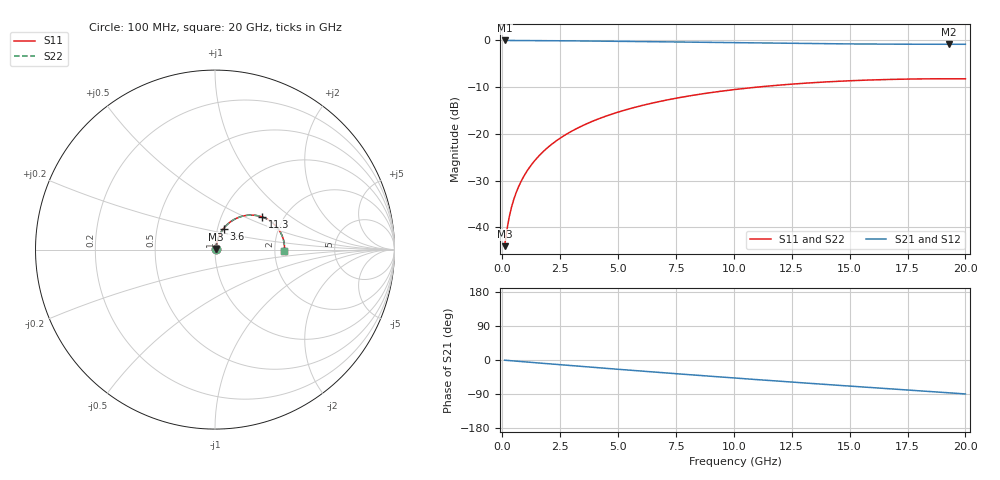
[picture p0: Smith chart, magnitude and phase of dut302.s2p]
! Touchstone file exported from HFSS 2026.1.0
!  File:  C:/ffzhzh/LocalFiles/Ansys_Project_Files/temp_train_TSV_RDL_302_1783027936_46388.aedt
!  Generated:  05:43:59 AM Jul  3, 2026
!  Design:  TSV_RDL
!  Project:  temp_train_TSV_RDL_302_1783027936_46388
! Variables:
!  h_bsmrdl = 3.55um
!  h_ox = 20um
!  h_rdl = 5um
!  h_sub = 70.57um
!  h_tmrdl = 5.57um
!  h_tsv = 70.57um
!  h_via = 3um
!  l_bsmrdl = 166.67um
!  l_sub = 1458.21um
!  l_tmrdl = 106.58um
!  m_sub = 200um
!  pitch = 51.08um
!  r_tsv = 12.29um
!  s_tmrdl = 10um
!  w_bsmrdl = 19.56um
!  w_sub = 500um
!  w_tmrdl = 24.4um
!  x_tsv_center1 = 118.78um
!  x_tsv_center2 = 305.01um
!  x_tsv_center3 = 435.99um
!  x_tsv_center4 = 622.22um
!  x_tsv_center5 = 753.2um
!  x_tsv_center6 = 939.43um
# GHz S MA R 50.000000
! Terminal data exported
! Port[1] = TM_RDL1_1_T1
! Port[2] = TM_RDL5_1_T1
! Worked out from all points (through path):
!   200 points, 100 MHz to 20 GHz, reference 50 ohm
!   highest |S21| = -0.04 dB at 100 MHz (marker M1); lowest = -0.9 dB at 19.3 GHz (marker M2)
!   group delay of S21, straight-line fit = 12.4 ps
!   lowest |S11| = -44.0 dB at 100 MHz (marker M3), VSWR 1.01, Z = 50.5 + j0.402 ohm
!   |S11| at or under -10 dB: start of sweep to 11.05 GHz
!   |S22| runs from -44.0 to -8.2 dB; largest |S21 - S12| = 3.5e-15
!   S11 on the Smith chart (normalised r, x): 100 MHz: 1.01, +0.01; 3.6 GHz: 1.07, +0.25; 11.3 GHz: 1.56, +0.63; 20 GHz: 2.26, -0.04
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0.1  0.006279 39.4  0.9952 -0.5  0.9952 -0.5  0.006279 39.4
! Gamma 0 0 0 0
! Port Impedance 50 0 50 0
0.2  0.009422 56.7  0.9949 -1.0  0.9949 -1.0  0.009422 56.7
0.3  0.01292 64.2  0.9946 -1.5  0.9946 -1.5  0.01292 64.2
0.4  0.01646 68.2  0.9943 -2.1  0.9943 -2.1  0.01646 68.2
0.5  0.01999 70.5  0.994 -2.6  0.994 -2.6  0.01999 70.5
0.6  0.02351 72.1  0.9937 -3.1  0.9937 -3.1  0.02351 72.1
0.8  0.03052 74.0  0.9932 -4.0  0.9932 -4.0  0.03052 74.0
1.1  0.04106 75.1  0.9925 -5.5  0.9925 -5.5  0.04106 75.1
1.6  0.05861 74.9  0.9911 -8.0  0.9911 -8.0  0.05861 74.9
2.1  0.07602 73.7  0.9894 -10.5  0.9894 -10.5  0.07602 73.7
2.7  0.09657 71.6  0.987 -13.4  0.987 -13.4  0.09657 71.6
3.5  0.1232 68.4  0.9831 -17.3  0.9831 -17.3  0.1232 68.4
3.6  0.1265 68.0  0.9826 -17.8  0.9826 -17.8  0.1265 68.0
5  0.1704 61.9  0.9744 -24.5  0.9744 -24.5  0.1704 61.9
6.8  0.2216 53.9  0.9626 -32.9  0.9626 -32.9  0.2216 53.9
8.4  0.2617 46.9  0.9515 -40.2  0.9515 -40.2  0.2617 46.9
10.1  0.2984 39.5  0.94 -47.8  0.94 -47.8  0.2984 39.6
11.3  0.3205 34.5  0.9323 -53.1  0.9323 -53.1  0.3205 34.5
13.4  0.3516 25.7  0.9207 -62.1  0.9207 -62.1  0.3516 25.7
16.7  0.381 12.2  0.9087 -75.9  0.9087 -75.9  0.381 12.2
19.3  0.3875 1.8  0.9056 -86.7  0.9056 -86.7  0.3875 1.8
20  0.3867 -1.1  0.9059 -89.6  0.9059 -89.6  0.3867 -1.0
